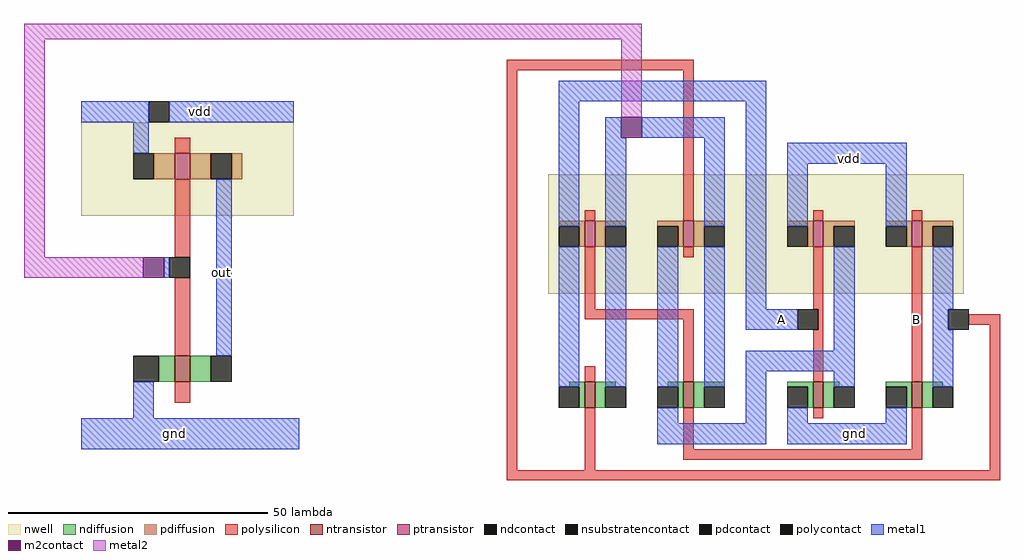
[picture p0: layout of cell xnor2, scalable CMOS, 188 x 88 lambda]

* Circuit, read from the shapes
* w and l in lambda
.subckt xnor2 A B gnd out vdd
M1 out n1 gnd VSUBS nfet w=5 l=3
M2 n1 n2 A VSUBS nfet w=5 l=2
M3 n1 B n3 VSUBS nfet w=5 l=2
M4 n3 A gnd VSUBS nfet w=5 l=2
M5 n2 B gnd VSUBS nfet w=5 l=2
M6 out n1 vdd n4 pfet w=5 l=3
M7 n1 B A n5 pfet w=5 l=2
M8 n1 n2 n3 n5 pfet w=5 l=2
M9 n3 A vdd n5 pfet w=5 l=2
M10 n2 B vdd n5 pfet w=5 l=2
.ends

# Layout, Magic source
magic
tech scmos
<< nwell >>
rect 107 50 148 68
rect 197 35 277 58
<< polysilicon >>
rect 189 78 225 80
rect 125 62 128 65
rect 125 42 128 57
rect 125 23 128 38
rect 125 14 128 18
rect 189 1 191 78
rect 204 49 206 51
rect 223 49 225 78
rect 248 49 250 51
rect 267 49 269 51
rect 204 32 206 44
rect 223 42 225 44
rect 248 32 250 44
rect 204 30 225 32
rect 204 18 206 21
rect 223 18 225 30
rect 249 28 250 32
rect 248 18 250 28
rect 267 18 269 44
rect 278 29 284 31
rect 204 1 206 13
rect 223 5 225 13
rect 248 11 250 13
rect 267 5 269 13
rect 223 3 269 5
rect 282 1 284 29
rect 189 -1 284 1
<< ndiffusion >>
rect 122 18 125 23
rect 128 18 132 23
rect 201 17 204 18
rect 203 13 204 17
rect 206 17 210 18
rect 220 17 223 18
rect 206 13 208 17
rect 222 13 223 17
rect 225 17 231 18
rect 225 13 227 17
rect 243 17 248 18
rect 247 13 248 17
rect 250 17 253 18
rect 262 17 267 18
rect 250 13 252 17
rect 266 13 267 17
rect 269 17 273 18
rect 269 13 271 17
<< pdiffusion >>
rect 121 57 125 62
rect 128 57 132 62
rect 136 57 138 62
rect 199 48 204 49
rect 203 44 204 48
rect 206 48 212 49
rect 206 44 208 48
rect 218 48 223 49
rect 222 44 223 48
rect 225 48 231 49
rect 225 44 227 48
rect 243 48 248 49
rect 247 44 248 48
rect 250 48 256 49
rect 250 44 252 48
rect 262 48 267 49
rect 266 44 267 48
rect 269 48 275 49
rect 269 44 271 48
<< metal1 >>
rect 199 72 239 76
rect 107 68 120 72
rect 124 68 148 72
rect 117 62 120 68
rect 123 38 124 42
rect 133 23 136 57
rect 199 48 203 72
rect 117 11 121 18
rect 199 17 203 44
rect 208 65 211 69
rect 215 65 231 69
rect 208 48 212 65
rect 227 48 231 65
rect 208 17 212 44
rect 218 17 222 44
rect 227 17 231 44
rect 235 32 239 72
rect 243 60 266 64
rect 243 48 247 60
rect 262 48 266 60
rect 235 28 245 32
rect 252 24 256 44
rect 235 20 256 24
rect 107 5 149 11
rect 218 10 222 13
rect 235 10 239 20
rect 252 17 256 20
rect 271 32 275 44
rect 271 28 274 32
rect 271 17 275 28
rect 218 6 239 10
rect 243 10 247 13
rect 262 10 266 13
rect 243 6 266 10
<< metal2 >>
rect 96 84 215 87
rect 96 42 100 84
rect 211 69 215 84
rect 96 38 119 42
<< ntransistor >>
rect 125 18 128 23
rect 204 13 206 18
rect 223 13 225 18
rect 248 13 250 18
rect 267 13 269 18
<< ptransistor >>
rect 125 57 128 62
rect 204 44 206 49
rect 223 44 225 49
rect 248 44 250 49
rect 267 44 269 49
<< polycontact >>
rect 124 38 128 42
rect 245 28 249 32
rect 274 28 278 32
<< ndcontact >>
rect 117 18 122 23
rect 132 18 136 23
rect 199 13 203 17
rect 208 13 212 17
rect 218 13 222 17
rect 227 13 231 17
rect 243 13 247 17
rect 252 13 256 17
rect 262 13 266 17
rect 271 13 275 17
<< pdcontact >>
rect 117 57 121 62
rect 132 57 136 62
rect 199 44 203 48
rect 208 44 212 48
rect 218 44 222 48
rect 227 44 231 48
rect 243 44 247 48
rect 252 44 256 48
rect 262 44 266 48
rect 271 44 275 48
<< m2contact >>
rect 119 38 123 42
rect 211 65 215 69
<< nsubstratencontact >>
rect 120 68 124 72
<< labels >>
rlabel metal1 256 8 256 8 1 gnd
rlabel metal1 255 61 255 61 1 vdd
rlabel metal1 134 39 134 39 1 out
rlabel metal1 130 70 130 70 5 vdd
rlabel metal1 125 8 125 8 1 gnd
rlabel metal1 242 30 242 30 1 A
rlabel polysilicon 268 30 268 30 1 B
<< end >>
